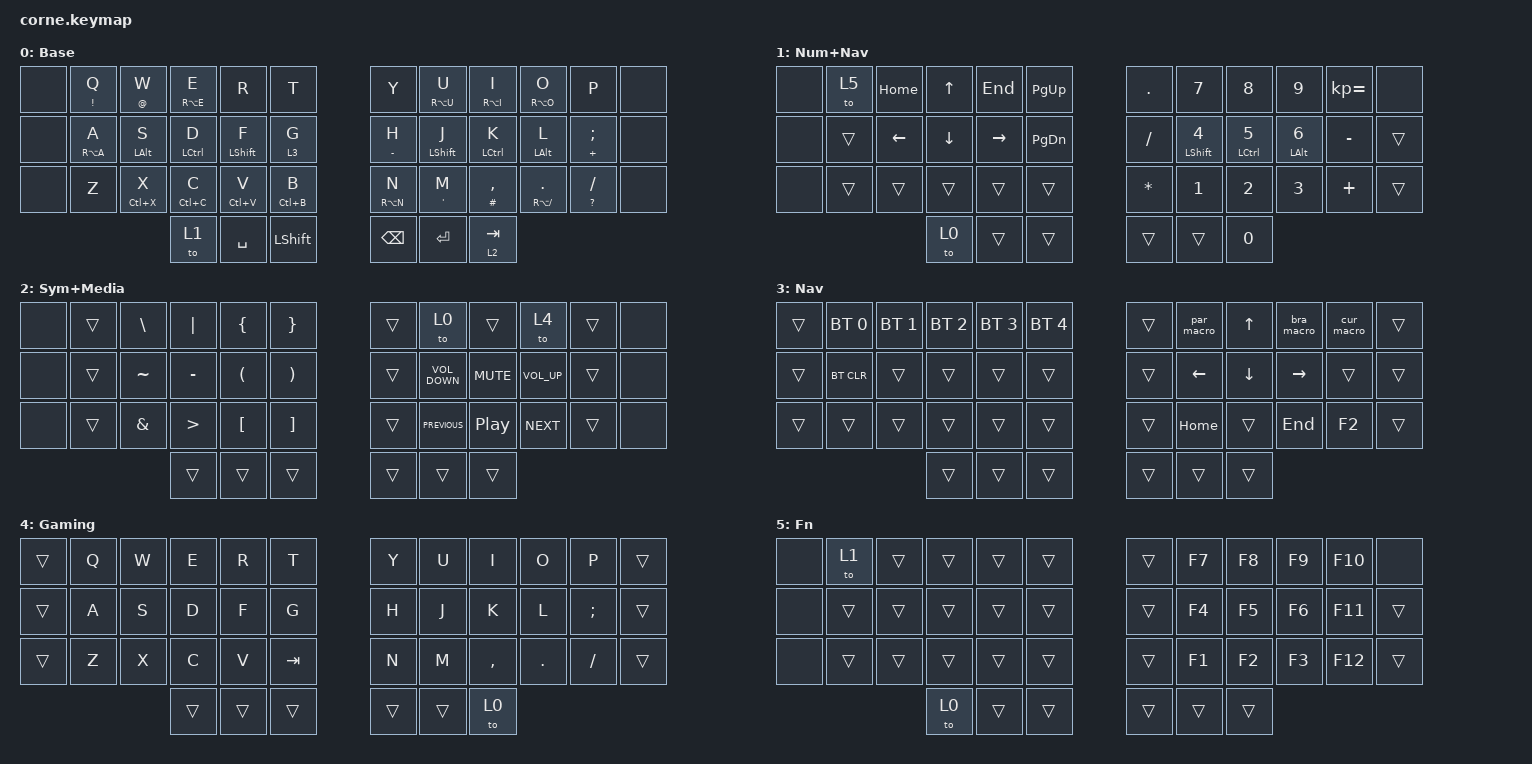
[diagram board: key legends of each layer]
/*
 * Copyright (c) 2020 The ZMK Contributors
 *
 * SPDX-License-Identifier: MIT
 */

#include <behaviors.dtsi>
#include <dt-bindings/zmk/bt.h>
#include <dt-bindings/zmk/keys.h>

/ {
    behaviors {
        kht: kht {
            compatible = "zmk,behavior-hold-tap";
            label = "Key hold tap";
            bindings = <&kp>, <&kp>;

            #binding-cells = <2>;
            tapping-term-ms = <200>;
            quick-tap-ms = <200>;
            require-prior-idle-ms = <125>;
            flavor = "tap-preferred";
        };
    };

    combos {
        compatible = "zmk,combos";

        combo_esc {
            bindings = <&kp ESC>;
            key-positions = <13 14>;
            timeout-ms = <50>;
        };

        combo_tab {
            bindings = <&kp TAB>;
            key-positions = <16 15 14>;
            timeout-ms = <50>;
            require-prior-idle-ms = <0>;
        };

        combo_win {
            bindings = <&kp LEFT_WIN>;
            key-positions = <19 20>;
            timeout-ms = <50>;
        };

        combo_del {
            bindings = <&kp DELETE>;
            key-positions = <38 39>;
            timeout-ms = <50>;
        };

        combo_caps {
            bindings = <&kp CAPSLOCK>;
            key-positions = <17 18>;
            timeout-ms = <50>;
            layers = <0>;
        };

        Screenshot {
            bindings = <&kp PSCRN>;
            key-positions = <25 10>;
        };

        alt {
            bindings = <&sk RIGHT_ALT>;
            key-positions = <37 40>;
        };
    };

    macros {
        par_macro: par_macro {
            compatible = "zmk,behavior-macro";
            #binding-cells = <0>;
            bindings = <&kp LPAR &kp RPAR &kp LEFT>;
            label = "PAR_MACRO";
        };

        bra_macro: bra_macro {
            compatible = "zmk,behavior-macro";
            #binding-cells = <0>;
            bindings = <&kp LEFT_BRACKET &kp RIGHT_BRACKET &kp LEFT>;
            label = "BRA_MACRO";
        };

        cur_macro: cur_macro {
            compatible = "zmk,behavior-macro";
            #binding-cells = <0>;
            bindings = <&kp LEFT_BRACE &kp RIGHT_BRACE &kp LEFT_ARROW>;
            label = "CUR_MACRO";
        };
    };

    keymap {
        compatible = "zmk,keymap";

        base {
            // -----------------------------------------------------------------------------------------
            // |  TAB |  Q  |  W  |  E  |  R  |  T  |   |  Y  |  U   |  I  |  O  |  P  | BKSP |
            // | CTRL |  A  |  S  |  D  |  F  |  G  |   |  H  |  J   |  K  |  L  |  ;  |  '   |
            // | SHFT |  Z  |  X  |  C  |  V  |  B  |   |  N  |  M   |  ,  |  .  |  /  | ESC  |
            //                    | GUI | LWR | SPC |   | ENT | RSE  | ALT |

            label = "Base";
            bindings = <
&none  &kht EXCLAMATION Q  &kht AT_SIGN W   &kht RA(E) E  &kp R              &kp T             &kp Y          &kht RA(U) U       &kht RA(I) I     &kht RA(O) O        &kp P                &none
&none  &kht RA(A) A        &kht LEFT_ALT S  &kht LCTRL D  &kht LEFT_SHIFT F  &lt 3 G           &kht MINUS H   &kht LEFT_SHIFT J  &kht LCTRL K     &kht LEFT_ALT L     &kht PLUS SEMICOLON  &none
&none  &kp Z               &kht LC(X) X     &kht LC(C) C  &kht LC(V) V       &kht LC(B) B      &kht RA(N) N   &kht SQT M         &kht HASH COMMA  &kht RA(SLASH) DOT  &kht QUESTION SLASH  &none
                                            &to 1         &kp SPACE          &kp LEFT_SHIFT    &kp BACKSPACE  &kp RET            &lt 2 TAB
            >;
        };

        num_nav {
            // -----------------------------------------------------------------------------------------
            // |  TAB |  1  |  2  |  3  |  4  |  5  |   |  6  |  7  |  8  |  9  |  0  | BKSP |
            // | BTCLR| BT1 | BT2 | BT3 | BT4 | BT5 |   | LFT | DWN |  UP | RGT |     |      |
            // | SHFT |     |     |     |     |     |   |     |     |     |     |     |      |
            //                    | GUI |     | SPC |   | ENT |     | ALT |

            label = "Num+Nav";
            bindings = <
&none  &to 5   &kp HOME  &kp UP_ARROW    &kp END    &kp PG_UP    &kp PERIOD    &kp N7                    &kp N8         &kp N9                  &kp KP_EQUAL  &none
&none  &trans  &kp LEFT  &kp DOWN_ARROW  &kp RIGHT  &kp PG_DN    &kp SLASH     &kht LEFT_SHIFT NUMBER_4  &kht LCTRL N5  &kht LEFT_ALT NUMBER_6  &kp MINUS     &trans
&none  &trans  &trans    &trans          &trans     &trans       &kp ASTERISK  &kp NUMBER_1              &kp NUMBER_2   &kp NUMBER_3            &kp PLUS      &trans
                         &to 0           &trans     &trans       &trans        &trans                    &kp N0
            >;
        };

        sym_media {
            // -----------------------------------------------------------------------------------------
            // |  TAB |  !  |  @  |  #  |  $  |  %  |   |  ^  |  &  |  *  |  (  |  )  | BKSP |
            // | CTRL |     |     |     |     |     |   |  -  |  =  |  [  |  ]  |  \  |  `   |
            // | SHFT |     |     |     |     |     |   |  _  |  +  |  {  |  }  | "|" |  ~   |
            //                    | GUI |     | SPC |   | ENT |     | ALT |

            label = "Sym+Media";
            bindings = <
&none  &trans  &kp BACKSLASH  &kp PIPE          &kp LEFT_BRACE    &kp RBRC             &trans  &to 0              &trans            &to 4            &trans  &none
&none  &trans  &kp TILDE      &kp MINUS         &kp LPAR          &kp RPAR             &trans  &kp C_VOLUME_DOWN  &kp C_MUTE        &kp C_VOLUME_UP  &trans  &none
&none  &trans  &kp AMPERSAND  &kp GREATER_THAN  &kp LEFT_BRACKET  &kp RIGHT_BRACKET    &trans  &kp C_PREVIOUS     &kp C_PLAY_PAUSE  &kp C_NEXT       &trans  &none
                              &trans            &trans            &trans               &trans  &trans             &trans
            >;
        };

        nav_layer {
            bindings = <
&trans  &bt BT_SEL 0  &bt BT_SEL 1  &bt BT_SEL 2  &bt BT_SEL 3  &bt BT_SEL 4    &trans  &par_macro  &kp UP_ARROW  &bra_macro  &cur_macro  &trans
&trans  &bt BT_CLR    &trans        &trans        &trans        &trans          &trans  &kp LEFT    &kp DOWN      &kp RIGHT   &trans      &trans
&trans  &trans        &trans        &trans        &trans        &trans          &trans  &kp HOME    &trans        &kp END     &kp F2      &trans
                                    &trans        &trans        &trans          &trans  &trans      &trans
            >;

            label = "Nav";
        };

        gaming {
            bindings = <
&trans  &kp Q  &kp W  &kp E   &kp R   &kp T      &kp Y   &kp U   &kp I      &kp O    &kp P     &trans
&trans  &kp A  &kp S  &kp D   &kp F   &kp G      &kp H   &kp J   &kp K      &kp L    &kp SEMI  &trans
&trans  &kp Z  &kp X  &kp C   &kp V   &kp TAB    &kp N   &kp M   &kp COMMA  &kp DOT  &kp FSLH  &trans
                      &trans  &trans  &trans     &trans  &trans  &to 0
            >;

            label = "Gaming";
        };

        fn {
            label = "Fn";
            bindings = <
&none  &to 1   &trans  &trans  &trans  &trans    &trans  &kp F7  &kp F8  &kp F9  &kp F10  &none
&none  &trans  &trans  &trans  &trans  &trans    &trans  &kp F4  &kp F5  &kp F6  &kp F11  &trans
&none  &trans  &trans  &trans  &trans  &trans    &trans  &kp F1  &kp F2  &kp F3  &kp F12  &trans
                       &to 0   &trans  &trans    &trans  &trans  &trans
            >;
        };
    };
};
